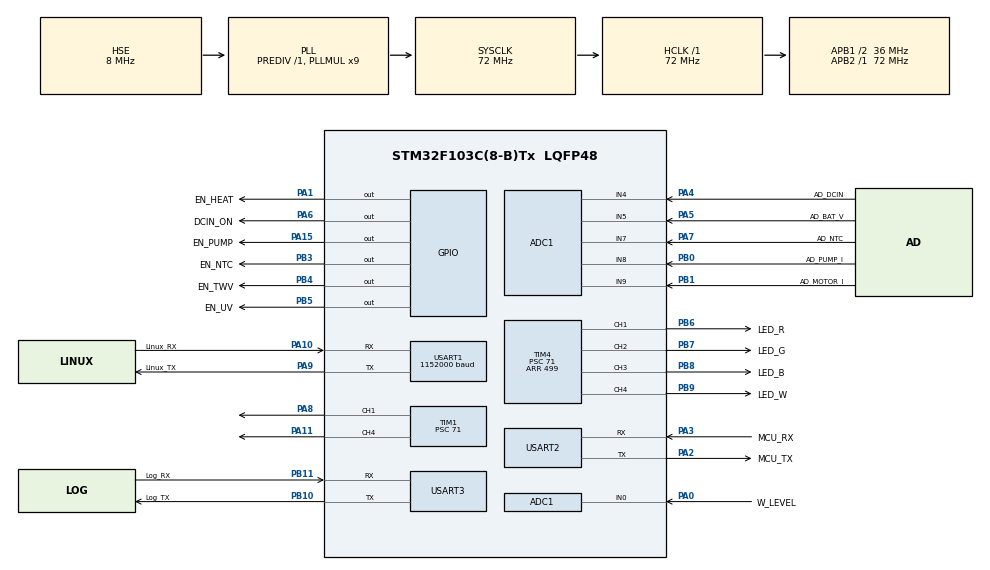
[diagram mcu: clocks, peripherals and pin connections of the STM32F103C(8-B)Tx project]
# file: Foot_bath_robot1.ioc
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ADC1.Channel-0\#ChannelRegularConversion=ADC_CHANNEL_0
ADC1.Channel-1\#ChannelRegularConversion=ADC_CHANNEL_4
ADC1.Channel-2\#ChannelRegularConversion=ADC_CHANNEL_5
ADC1.Channel-3\#ChannelRegularConversion=ADC_CHANNEL_7
ADC1.Channel-4\#ChannelRegularConversion=ADC_CHANNEL_8
ADC1.Channel-5\#ChannelRegularConversion=ADC_CHANNEL_9
ADC1.ContinuousConvMode=ENABLE
ADC1.DataAlign=ADC_DATAALIGN_RIGHT
ADC1.NbrOfConversion=6
ADC1.NbrOfConversionFlag=1
ADC1.Rank-0\#ChannelRegularConversion=1
ADC1.Rank-1\#ChannelRegularConversion=2
ADC1.Rank-2\#ChannelRegularConversion=3
ADC1.Rank-3\#ChannelRegularConversion=4
ADC1.Rank-4\#ChannelRegularConversion=5
ADC1.Rank-5\#ChannelRegularConversion=6
ADC1.SamplingTime-0\#ChannelRegularConversion=ADC_SAMPLETIME_71CYCLES_5
ADC1.SamplingTime-1\#ChannelRegularConversion=ADC_SAMPLETIME_71CYCLES_5
ADC1.SamplingTime-2\#ChannelRegularConversion=ADC_SAMPLETIME_71CYCLES_5
ADC1.SamplingTime-3\#ChannelRegularConversion=ADC_SAMPLETIME_71CYCLES_5
ADC1.SamplingTime-4\#ChannelRegularConversion=ADC_SAMPLETIME_71CYCLES_5
ADC1.SamplingTime-5\#ChannelRegularConversion=ADC_SAMPLETIME_71CYCLES_5
ADC1.master=1
Dma.ADC1.0.Direction=DMA_PERIPH_TO_MEMORY
Dma.ADC1.0.Instance=DMA1_Channel1
Dma.ADC1.0.MemDataAlignment=DMA_MDATAALIGN_HALFWORD
Dma.ADC1.0.MemInc=DMA_MINC_ENABLE
Dma.ADC1.0.Mode=DMA_CIRCULAR
Dma.ADC1.0.PeriphDataAlignment=DMA_PDATAALIGN_HALFWORD
Dma.ADC1.0.PeriphInc=DMA_PINC_DISABLE
Dma.ADC1.0.Priority=DMA_PRIORITY_LOW
Dma.Request0=ADC1
Dma.Request1=USART1_RX
Dma.Request2=USART1_TX
Dma.Request3=USART2_TX
Dma.Request4=USART2_RX
Dma.Request5=USART3_TX
Dma.USART1_RX.1.Direction=DMA_PERIPH_TO_MEMORY
Dma.USART1_RX.1.Instance=DMA1_Channel5
Dma.USART1_RX.1.MemDataAlignment=DMA_MDATAALIGN_BYTE
Dma.USART1_RX.1.MemInc=DMA_MINC_ENABLE
Dma.USART1_RX.1.Mode=DMA_CIRCULAR
Dma.USART1_RX.1.PeriphDataAlignment=DMA_PDATAALIGN_BYTE
Dma.USART1_RX.1.PeriphInc=DMA_PINC_DISABLE
Dma.USART1_RX.1.Priority=DMA_PRIORITY_LOW
Dma.USART1_TX.2.Direction=DMA_MEMORY_TO_PERIPH
Dma.USART1_TX.2.Instance=DMA1_Channel4
Dma.USART1_TX.2.MemDataAlignment=DMA_MDATAALIGN_BYTE
Dma.USART1_TX.2.MemInc=DMA_MINC_ENABLE
Dma.USART1_TX.2.Mode=DMA_NORMAL
Dma.USART1_TX.2.PeriphDataAlignment=DMA_PDATAALIGN_BYTE
Dma.USART1_TX.2.PeriphInc=DMA_PINC_DISABLE
Dma.USART1_TX.2.Priority=DMA_PRIORITY_LOW
Dma.USART2_RX.4.Direction=DMA_PERIPH_TO_MEMORY
Dma.USART2_RX.4.Instance=DMA1_Channel6
Dma.USART2_RX.4.MemDataAlignment=DMA_MDATAALIGN_BYTE
Dma.USART2_RX.4.MemInc=DMA_MINC_ENABLE
Dma.USART2_RX.4.Mode=DMA_CIRCULAR
Dma.USART2_RX.4.PeriphDataAlignment=DMA_PDATAALIGN_BYTE
Dma.USART2_RX.4.PeriphInc=DMA_PINC_DISABLE
Dma.USART2_RX.4.Priority=DMA_PRIORITY_LOW
Dma.USART2_TX.3.Direction=DMA_MEMORY_TO_PERIPH
Dma.USART2_TX.3.Instance=DMA1_Channel7
Dma.USART2_TX.3.MemDataAlignment=DMA_MDATAALIGN_BYTE
Dma.USART2_TX.3.MemInc=DMA_MINC_ENABLE
Dma.USART2_TX.3.Mode=DMA_NORMAL
Dma.USART2_TX.3.PeriphDataAlignment=DMA_PDATAALIGN_BYTE
Dma.USART2_TX.3.PeriphInc=DMA_PINC_DISABLE
Dma.USART2_TX.3.Priority=DMA_PRIORITY_LOW
Dma.USART3_TX.5.Direction=DMA_MEMORY_TO_PERIPH
Dma.USART3_TX.5.Instance=DMA1_Channel2
Dma.USART3_TX.5.MemDataAlignment=DMA_MDATAALIGN_BYTE
Dma.USART3_TX.5.MemInc=DMA_MINC_ENABLE
Dma.USART3_TX.5.Mode=DMA_NORMAL
Dma.USART3_TX.5.PeriphDataAlignment=DMA_PDATAALIGN_BYTE
Dma.USART3_TX.5.PeriphInc=DMA_PINC_DISABLE
Dma.USART3_TX.5.Priority=DMA_PRIORITY_LOW
FREERTOS.Tasks01=Task1,40,256,Sensor_Task,Default,NULL,Dynamic,NULL,NULL;Task2,40,256,Temp_Control_Task,Default,NULL,Dynamic,NULL,NULL;Task3,24,256,Motor_Task,Default,NULL,Dynamic,NULL,NULL;Task4,24,256,Pump_Valve_Task,Default,NULL,Dynamic,NULL,NULL;Task5,8,128,UV_Lamp_Task,Default,NULL,Dynamic,NULL,NULL;Task6,24,256,Communication_Task,Default,NULL,Dynamic,NULL,NULL;Task7,8,128,Logging_Task,Default,NULL,Dynamic,NULL,NULL;Task8,40,128,System_Monitor_Task,Default,NULL,Dynamic,NULL,NULL
FREERTOS.configTOTAL_HEAP_SIZE=10240
Mcu.Family=STM32F1
Mcu.Name=STM32F103C(8-B)Tx
Mcu.Package=LQFP48
NVIC.ADC1_2_IRQn=true\:6\:0\:true\:false\:true\:true\:true\:true\:true
NVIC.DMA1_Channel1_IRQn=true\:6\:0\:true\:false\:true\:true\:false\:true\:true
NVIC.DMA1_Channel2_IRQn=true\:6\:0\:true\:false\:true\:true\:false\:true\:true
NVIC.DMA1_Channel4_IRQn=true\:6\:0\:true\:false\:true\:true\:false\:true\:true
NVIC.DMA1_Channel5_IRQn=true\:6\:0\:true\:false\:true\:true\:false\:true\:true
NVIC.DMA1_Channel6_IRQn=true\:6\:0\:true\:false\:true\:true\:false\:true\:true
NVIC.DMA1_Channel7_IRQn=true\:6\:0\:true\:false\:true\:true\:false\:true\:true
NVIC.PriorityGroup=NVIC_PRIORITYGROUP_4
NVIC.TIM2_IRQn=true\:15\:0\:false\:false\:true\:false\:false\:true\:true
NVIC.TimeBase=TIM2_IRQn
NVIC.TimeBaseIP=TIM2
NVIC.USART1_IRQn=true\:5\:0\:true\:false\:true\:true\:true\:true\:true
NVIC.USART2_IRQn=true\:5\:0\:true\:false\:true\:true\:true\:true\:true
NVIC.USART3_IRQn=true\:6\:0\:true\:false\:true\:true\:true\:true\:true
PA0-WKUP.GPIO_Label=W_LEVEL
PA0-WKUP.Signal=ADCx_IN0
PA1.GPIO_Label=EN_HEAT
PA1.GPIO_Speed=GPIO_SPEED_FREQ_MEDIUM
PA1.Signal=GPIO_Output
PA10.GPIO_Label=Linux_RX
PA10.Mode=Asynchronous
PA10.Signal=USART1_RX
PA11.Signal=S_TIM1_CH4
PA13.Mode=Serial_Wire
PA13.Signal=SYS_JTMS-SWDIO
PA14.Mode=Serial_Wire
PA14.Signal=SYS_JTCK-SWCLK
PA15.GPIO_Label=EN_PUMP
PA15.GPIO_Speed=GPIO_SPEED_FREQ_MEDIUM
PA15.Signal=GPIO_Output
PA2.GPIO_Label=MCU_TX
PA2.Mode=Asynchronous
PA2.Signal=USART2_TX
PA3.GPIO_Label=MCU_RX
PA3.Mode=Asynchronous
PA3.Signal=USART2_RX
PA4.GPIO_Label=AD_DCIN
PA4.Signal=ADCx_IN4
PA5.GPIO_Label=AD_BAT_V
PA5.Signal=ADCx_IN5
PA6.GPIO_Label=DCIN_ON
PA6.GPIO_Speed=GPIO_SPEED_FREQ_MEDIUM
PA6.Signal=GPIO_Output
PA7.GPIO_Label=AD_NTC
PA7.Signal=ADCx_IN7
PA8.Signal=S_TIM1_CH1
PA9.GPIO_Label=Linux_TX
PA9.Mode=Asynchronous
PA9.Signal=USART1_TX
PB0.GPIO_Label=AD_PUMP_I
PB0.Signal=ADCx_IN8
PB1.GPIO_Label=AD_MOTOR_I
PB1.Signal=ADCx_IN9
PB10.GPIO_Label=Log_TX
PB10.Mode=Asynchronous
PB10.Signal=USART3_TX
PB11.GPIO_Label=Log_RX
PB11.Mode=Asynchronous
PB11.Signal=USART3_RX
PB3.GPIO_Label=EN_NTC
PB3.GPIO_Speed=GPIO_SPEED_FREQ_MEDIUM
PB3.Signal=GPIO_Output
PB4.GPIO_Label=EN_TWV
PB4.GPIO_Speed=GPIO_SPEED_FREQ_MEDIUM
PB4.Signal=GPIO_Output
PB5.GPIO_Label=EN_UV
PB5.GPIO_Speed=GPIO_SPEED_FREQ_MEDIUM
PB5.Signal=GPIO_Output
PB6.GPIO_Label=LED_R 
PB6.Signal=S_TIM4_CH1
PB7.GPIO_Label=LED_G 
PB7.Signal=S_TIM4_CH2
PB8.GPIO_Label=LED_B 
PB8.Signal=S_TIM4_CH3
PB9.GPIO_Label=LED_W 
PB9.Signal=S_TIM4_CH4
PD0-OSC_IN.Mode=HSE-External-Oscillator
PD0-OSC_IN.Signal=RCC_OSC_IN
PD1-OSC_OUT.Mode=HSE-External-Oscillator
PD1-OSC_OUT.Signal=RCC_OSC_OUT
ProjectManager.HeapSize=0x200
ProjectManager.StackSize=0x400
ProjectManager.TargetToolchain=MDK-ARM V5.32
RCC.ADCPresc=RCC_ADCPCLK2_DIV6
RCC.AHBFreq_Value=72000000
RCC.APB1CLKDivider=RCC_HCLK_DIV2
RCC.APB1Freq_Value=36000000
RCC.APB1TimFreq_Value=72000000
RCC.APB2Freq_Value=72000000
RCC.APB2TimFreq_Value=72000000
RCC.HCLKFreq_Value=72000000
RCC.PLLMUL=RCC_PLL_MUL9
RCC.PLLSourceVirtual=RCC_PLLSOURCE_HSE
RCC.SYSCLKFreq_VALUE=72000000
RCC.SYSCLKSource=RCC_SYSCLKSOURCE_PLLCLK
RCC.USBFreq_Value=72000000
SH.ADCx_IN0.0=ADC1_IN0,IN0
SH.ADCx_IN4.0=ADC1_IN4,IN4
SH.ADCx_IN5.0=ADC1_IN5,IN5
SH.ADCx_IN7.0=ADC1_IN7,IN7
SH.ADCx_IN8.0=ADC1_IN8,IN8
SH.ADCx_IN9.0=ADC1_IN9,IN9
SH.S_TIM1_CH1.0=TIM1_CH1,PWM Generation1 CH1
SH.S_TIM1_CH4.0=TIM1_CH4,PWM Generation4 CH4
SH.S_TIM4_CH1.0=TIM4_CH1,PWM Generation1 CH1
SH.S_TIM4_CH2.0=TIM4_CH2,PWM Generation2 CH2
SH.S_TIM4_CH3.0=TIM4_CH3,PWM Generation3 CH3
SH.S_TIM4_CH4.0=TIM4_CH4,PWM Generation4 CH4
TIM1.Channel-PWM\ Generation1\ CH1=TIM_CHANNEL_1
TIM1.Channel-PWM\ Generation4\ CH4=TIM_CHANNEL_4
TIM1.Period=999
TIM1.Prescaler=71
TIM4.Channel-PWM\ Generation1\ CH1=TIM_CHANNEL_1
TIM4.Channel-PWM\ Generation2\ CH2=TIM_CHANNEL_2
TIM4.Channel-PWM\ Generation3\ CH3=TIM_CHANNEL_3
TIM4.Channel-PWM\ Generation4\ CH4=TIM_CHANNEL_4
TIM4.Period=499
TIM4.Prescaler=71
USART1.BaudRate=1152000
USART1.VirtualMode=VM_ASYNC
USART2.VirtualMode=VM_ASYNC
USART3.VirtualMode=VM_ASYNC
VP_FREERTOS_VS_CMSIS_V2.Mode=CMSIS_V2
VP_SYS_VS_tim2.Mode=TIM2
board=custom

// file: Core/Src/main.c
/* USER CODE BEGIN Header */
/**
  ******************************************************************************
  * @file           : main.c
  * @brief          : Main program body
  ******************************************************************************
  * @attention
  *
  * Copyright (c) 2026 STMicroelectronics.
  * All rights reserved.
  *
  * This software is licensed under terms that can be found in the LICENSE file
  * in the root directory of this software component.
  * If no LICENSE file comes with this software, it is provided AS-IS.
  *
  ******************************************************************************
  */
/* USER CODE END Header */
#include "main.h"
#include "cmsis_os.h"
#include "adc.h"
#include "dma.h"
#include "tim.h"
#include "usart.h"
#include "gpio.h"

void SystemClock_Config(void);
void MX_FREERTOS_Init(void);

int main(void)
{

  /* MCU Configuration--------------------------------------------------------*/

  /* Reset of all peripherals, Initializes the Flash interface and the Systick. */
  HAL_Init();

  /* USER CODE BEGIN Init */
	__HAL_AFIO_REMAP_SWJ_NOJTAG();
  /* USER CODE END Init */

  /* Configure the system clock */
  SystemClock_Config();

  /* Initialize all configured peripherals */
  MX_GPIO_Init();
  MX_DMA_Init();
  MX_ADC1_Init();
  MX_USART1_UART_Init();
  MX_USART2_UART_Init();
  MX_USART3_UART_Init();
  MX_TIM4_Init();
  MX_TIM1_Init();

  /* Init scheduler */
  osKernelInitialize();  /* Call init function for freertos objects (in cmsis_os2.c) */
  MX_FREERTOS_Init();

  /* Start scheduler */
  osKernelStart();

  /* We should never get here as control is now taken by the scheduler */

  /* Infinite loop */
  while (1)
  {

  }
}

void SystemClock_Config(void)
{
  RCC_OscInitTypeDef RCC_OscInitStruct = {0};
  RCC_ClkInitTypeDef RCC_ClkInitStruct = {0};
  RCC_PeriphCLKInitTypeDef PeriphClkInit = {0};

  /** Initializes the RCC Oscillators according to the specified parameters
  * in the RCC_OscInitTypeDef structure.
  */
  RCC_OscInitStruct.OscillatorType = RCC_OSCILLATORTYPE_HSE;
  RCC_OscInitStruct.HSEState = RCC_HSE_ON;
  RCC_OscInitStruct.HSEPredivValue = RCC_HSE_PREDIV_DIV1;
  RCC_OscInitStruct.HSIState = RCC_HSI_ON;
  RCC_OscInitStruct.PLL.PLLState = RCC_PLL_ON;
  RCC_OscInitStruct.PLL.PLLSource = RCC_PLLSOURCE_HSE;
  RCC_OscInitStruct.PLL.PLLMUL = RCC_PLL_MUL9;
  if (HAL_RCC_OscConfig(&RCC_OscInitStruct) != HAL_OK)
  {
    Error_Handler();
  }

  /** Initializes the CPU, AHB and APB buses clocks
  */
  RCC_ClkInitStruct.ClockType = RCC_CLOCKTYPE_HCLK|RCC_CLOCKTYPE_SYSCLK
                              |RCC_CLOCKTYPE_PCLK1|RCC_CLOCKTYPE_PCLK2;
  RCC_ClkInitStruct.SYSCLKSource = RCC_SYSCLKSOURCE_PLLCLK;
  RCC_ClkInitStruct.AHBCLKDivider = RCC_SYSCLK_DIV1;
  RCC_ClkInitStruct.APB1CLKDivider = RCC_HCLK_DIV2;
  RCC_ClkInitStruct.APB2CLKDivider = RCC_HCLK_DIV1;

  if (HAL_RCC_ClockConfig(&RCC_ClkInitStruct, FLASH_LATENCY_2) != HAL_OK)
  {
    Error_Handler();
  }
  PeriphClkInit.PeriphClockSelection = RCC_PERIPHCLK_ADC;
  PeriphClkInit.AdcClockSelection = RCC_ADCPCLK2_DIV6;
  if (HAL_RCCEx_PeriphCLKConfig(&PeriphClkInit) != HAL_OK)
  {
    Error_Handler();
  }
}

void HAL_TIM_PeriodElapsedCallback(TIM_HandleTypeDef *htim)
{
  if (htim->Instance == TIM2)
  {
    HAL_IncTick();
  }
}

void Error_Handler(void)
{
  __disable_irq();
  while (1)
  {
  }
}

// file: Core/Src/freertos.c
/* USER CODE BEGIN Header */
/**
  ******************************************************************************
  * File Name          : freertos.c
  * Description        : Code for freertos applications
  ******************************************************************************
  * @attention
  *
  * Copyright (c) 2026 STMicroelectronics.
  * All rights reserved.
  *
  * This software is licensed under terms that can be found in the LICENSE file
  * in the root directory of this software component.
  * If no LICENSE file comes with this software, it is provided AS-IS.
  *
  ******************************************************************************
  */
/* USER CODE END Header */

#include "FreeRTOS.h"
#include "task.h"
#include "main.h"
#include "cmsis_os.h"

/* USER CODE BEGIN Includes */
#include "sensor.h"
#include "temp_control.h"
#include "motor_control.h"
#include "pump_valve.h"
#include "uv_lamp.h"
#include "uart_comm.h"
#include "log.h"
#include "system_monitor.h"

/* USER CODE END Includes */

/* Definitions for Task1 */
osThreadId_t Task1Handle;
const osThreadAttr_t Task1_attributes = {
  .name = "Task1",
  .stack_size = 256 * 4,
  .priority = (osPriority_t) osPriorityHigh,
};
/* Definitions for Task2 */
osThreadId_t Task2Handle;
const osThreadAttr_t Task2_attributes = {
  .name = "Task2",
  .stack_size = 256 * 4,
  .priority = (osPriority_t) osPriorityHigh,
};
/* Definitions for Task3 */
osThreadId_t Task3Handle;
const osThreadAttr_t Task3_attributes = {
  .name = "Task3",
  .stack_size = 256 * 4,
  .priority = (osPriority_t) osPriorityNormal,
};
/* Definitions for Task4 */
osThreadId_t Task4Handle;
const osThreadAttr_t Task4_attributes = {
  .name = "Task4",
  .stack_size = 256 * 4,
  .priority = (osPriority_t) osPriorityNormal,
};
/* Definitions for Task5 */
osThreadId_t Task5Handle;
const osThreadAttr_t Task5_attributes = {
  .name = "Task5",
  .stack_size = 128 * 4,
  .priority = (osPriority_t) osPriorityLow,
};
/* Definitions for Task6 */
osThreadId_t Task6Handle;
const osThreadAttr_t Task6_attributes = {
  .name = "Task6",
  .stack_size = 256 * 4,
  .priority = (osPriority_t) osPriorityNormal,
};
/* Definitions for Task7 */
osThreadId_t Task7Handle;
const osThreadAttr_t Task7_attributes = {
  .name = "Task7",
  .stack_size = 128 * 4,
  .priority = (osPriority_t) osPriorityLow,
};
/* Definitions for Task8 */
osThreadId_t Task8Handle;
const osThreadAttr_t Task8_attributes = {
  .name = "Task8",
  .stack_size = 128 * 4,
  .priority = (osPriority_t) osPriorityHigh,
};

void Sensor_Task(void *argument);
void Temp_Control_Task(void *argument);
void Motor_Task(void *argument);
void Pump_Valve_Task(void *argument);
void UV_Lamp_Task(void *argument);
void Communication_Task(void *argument);
void Logging_Task(void *argument);
void System_Monitor_Task(void *argument);

void MX_FREERTOS_Init(void); /* (MISRA C 2004 rule 8.1) */

void MX_FREERTOS_Init(void) {
  /* USER CODE BEGIN Init */
  Sensor_Init();
  Temp_Init();
  Motor_Init();
  PumpValve_Init();
  UV_Init();
  SystemMonitor_Init();
  Logging_Init();
  UART_Comm_Init();

  /* USER CODE END Init */

  /* Create the thread(s) */
  /* creation of Task1 */
  Task1Handle = osThreadNew(Sensor_Task, NULL, &Task1_attributes);

  /* creation of Task2 */
  Task2Handle = osThreadNew(Temp_Control_Task, NULL, &Task2_attributes);

  /* creation of Task3 */
  Task3Handle = osThreadNew(Motor_Task, NULL, &Task3_attributes);

  /* creation of Task4 */
  Task4Handle = osThreadNew(Pump_Valve_Task, NULL, &Task4_attributes);

  /* creation of Task5 */
  Task5Handle = osThreadNew(UV_Lamp_Task, NULL, &Task5_attributes);

  /* creation of Task6 */
  Task6Handle = osThreadNew(Communication_Task, NULL, &Task6_attributes);

  /* creation of Task7 */
  Task7Handle = osThreadNew(Logging_Task, NULL, &Task7_attributes);

  /* creation of Task8 */
  Task8Handle = osThreadNew(System_Monitor_Task, NULL, &Task8_attributes);

}

void Sensor_Task(void *argument)
{
  /* USER CODE BEGIN Sensor_Task */
  /* Infinite loop */
  for(;;)
  {
    Sensor_TaskProcess();
    osDelay(20);
  }
  /* USER CODE END Sensor_Task */
}

void Temp_Control_Task(void *argument)
{
  /* USER CODE BEGIN Temp_Control_Task */
  /* Infinite loop */
  for(;;)
  {
    Temp_Control_TaskProcess();
    osDelay(100);
  }
  /* USER CODE END Temp_Control_Task */
}

void Motor_Task(void *argument)
{
  /* USER CODE BEGIN Motor_Task */
  /* Infinite loop */
  for(;;)
  {
    Motor_TaskProcess();
    osDelay(20);
  }
  /* USER CODE END Motor_Task */
}

void Pump_Valve_Task(void *argument)
{
  /* USER CODE BEGIN Pump_Valve_Task */
  /* Infinite loop */
  for(;;)
  {
    PumpValve_TaskProcess();
    osDelay(50);
  }
  /* USER CODE END Pump_Valve_Task */
}

void UV_Lamp_Task(void *argument)
{
  /* USER CODE BEGIN UV_Lamp_Task */
  /* Infinite loop */
  for(;;)
  {
    UV_TaskProcess();
    osDelay(500);
  }
  /* USER CODE END UV_Lamp_Task */
}

void Communication_Task(void *argument)
{
  /* USER CODE BEGIN Communication_Task */
  /* Infinite loop */
  for(;;)
  {
    UART_Comm_TaskProcess();
    osDelay(50);
  }
  /* USER CODE END Communication_Task */
}

void Logging_Task(void *argument)
{
  /* USER CODE BEGIN Logging_Task */
  /* Infinite loop */
  for(;;)
  {
    Logging_TaskProcess();
    osDelay(1000);
  }
  /* USER CODE END Logging_Task */
}

void System_Monitor_Task(void *argument)
{
  /* USER CODE BEGIN System_Monitor_Task */
  /* Infinite loop */
  for(;;)
  {
    SystemMonitor_TaskProcess();
    osDelay(50);
  }
  /* USER CODE END System_Monitor_Task */
}
